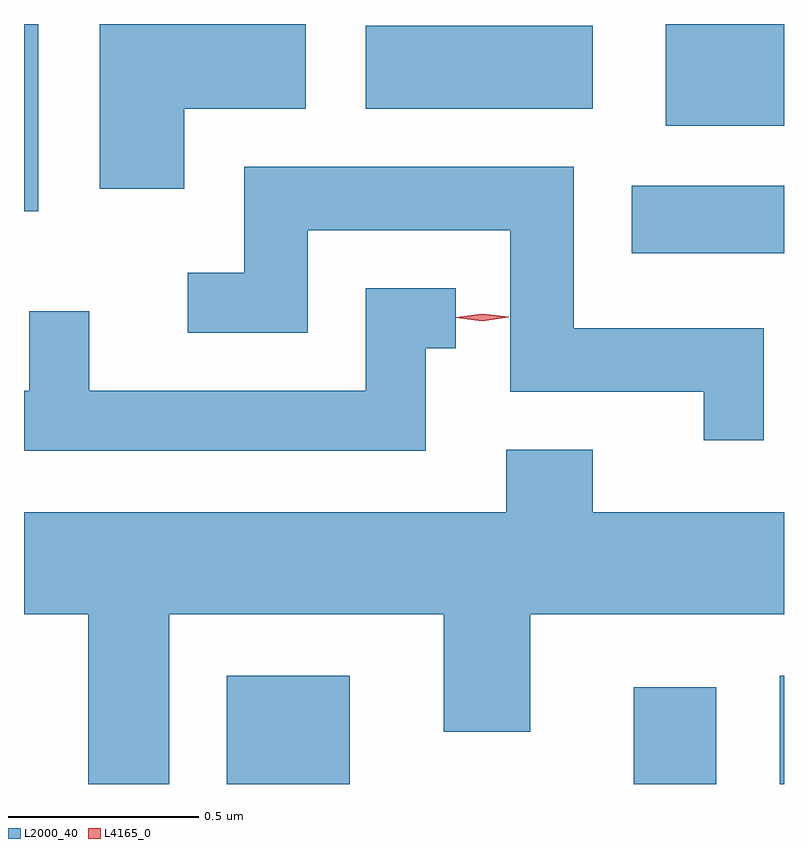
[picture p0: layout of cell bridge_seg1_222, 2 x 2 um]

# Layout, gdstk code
import gdstk
lib = gdstk.Library(unit=1e-6, precision=1e-09)
def R(c, l, rs):  # rectangles x0, y0, x1, y1
    for r in rs: c.add(gdstk.rectangle(r[:2], r[2:], *l))
def P(c, l, *ps):  # polygons
    for p in ps: c.add(gdstk.Polygon(p, *l))
L2000_40 = (2000, 40)
L4165_0 = (4165, 0)

bridge_seg1_222 = lib.new_cell('bridge_seg1_222')
R(bridge_seg1_222, L2000_40, [(836.546,865.829,836.869,866.114), (837.616,865.829,837.834,866.084), (838.001,865.829,838.012,866.114), (837.611,867.226,838.012,867.404), (836.012,867.336,836.049,867.829), (837.701,867.561,838.012,867.829), (836.911,867.606,837.509,867.824)])
P(bridge_seg1_222, L2000_40, [(836.434,867.606),(836.754,867.606),(836.754,867.829),(836.211,867.829),(836.211,867.396),(836.434,867.396)],
  [(837.959,867.029),(837.459,867.029),(837.459,867.454),(836.591,867.454),(836.591,867.174),(836.443,867.174),(836.443,867.016),(836.759,867.016),(836.759,867.286),(837.291,867.286),(837.291,866.861),(837.801,866.861),(837.801,866.733),(837.959,866.733)],
  [(837.069,866.976),(837.148,866.976),(837.148,867.134),(836.911,867.134),(836.911,866.864),(836.184,866.864),(836.184,867.073),(836.026,867.073),(836.026,866.864),(836.012,866.864),(836.012,866.706),(837.069,866.706)],
  [(836.394,866.276),(837.116,866.276),(837.116,865.966),(837.344,865.966),(837.344,866.276),(838.012,866.276),(838.012,866.544),(837.509,866.544),(837.509,866.709),(837.281,866.709),(837.281,866.544),(836.012,866.544),(836.012,866.276),(836.181,866.276),(836.181,865.829),(836.394,865.829)])
P(bridge_seg1_222, L4165_0, [(837.218,867.047),(837.149,867.056),(837.149,867.056),(837.149,867.057),(837.218,867.067),(837.288,867.058),(837.288,867.057),(837.288,867.057)])

lib.write_gds('bridge_seg1_222.gds')
